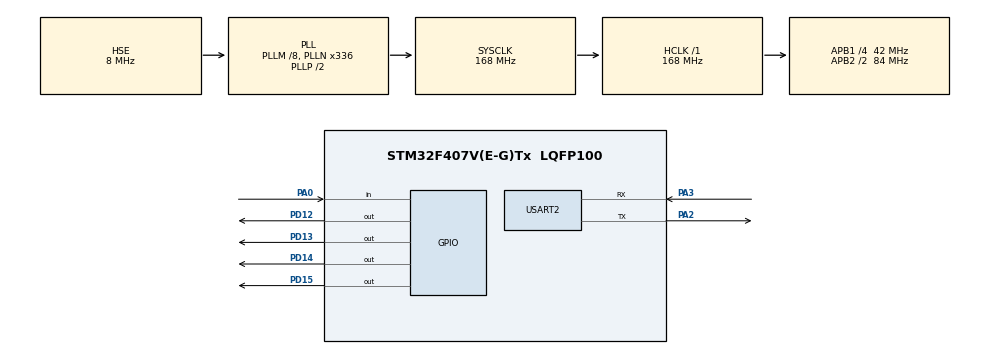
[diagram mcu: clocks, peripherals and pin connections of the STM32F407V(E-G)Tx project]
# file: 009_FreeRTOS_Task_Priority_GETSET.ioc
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FREERTOS.Tasks01=defaultTask,24,128,StartDefaultTask,Default,NULL,Dynamic,NULL,NULL
FREERTOS.configUSE_NEWLIB_REENTRANT=1
Mcu.Family=STM32F4
Mcu.Name=STM32F407V(E-G)Tx
Mcu.Package=LQFP100
NVIC.PriorityGroup=NVIC_PRIORITYGROUP_4
NVIC.TIM8_TRG_COM_TIM14_IRQn=true\:15\:0\:false\:false\:true\:false\:false\:true\:true
NVIC.TimeBase=TIM8_TRG_COM_TIM14_IRQn
NVIC.TimeBaseIP=TIM14
PA0-WKUP.Signal=GPIO_Input
PA2.Mode=Asynchronous
PA2.Signal=USART2_TX
PA3.Mode=Asynchronous
PA3.Signal=USART2_RX
PD12.Signal=GPIO_Output
PD13.Signal=GPIO_Output
PD14.Signal=GPIO_Output
PD15.Signal=GPIO_Output
PH0-OSC_IN.Mode=HSE-External-Oscillator
PH0-OSC_IN.Signal=RCC_OSC_IN
PH1-OSC_OUT.Mode=HSE-External-Oscillator
PH1-OSC_OUT.Signal=RCC_OSC_OUT
ProjectManager.HeapSize=0x200
ProjectManager.StackSize=0x400
ProjectManager.TargetToolchain=STM32CubeIDE
RCC.48MHZClocksFreq_Value=48000000
RCC.AHBFreq_Value=168000000
RCC.APB1CLKDivider=RCC_HCLK_DIV4
RCC.APB1Freq_Value=42000000
RCC.APB1TimFreq_Value=84000000
RCC.APB2CLKDivider=RCC_HCLK_DIV2
RCC.APB2Freq_Value=84000000
RCC.APB2TimFreq_Value=168000000
RCC.CortexFreq_Value=168000000
RCC.HCLKFreq_Value=168000000
RCC.HSE_VALUE=8000000
RCC.HSI_VALUE=16000000
RCC.LSE_VALUE=32768
RCC.PLLM=8
RCC.PLLN=336
RCC.PLLQ=7
RCC.PLLSourceVirtual=RCC_PLLSOURCE_HSE
RCC.SYSCLKFreq_VALUE=168000000
RCC.SYSCLKSource=RCC_SYSCLKSOURCE_PLLCLK
RCC.VCOOutputFreq_Value=336000000
USART2.VirtualMode=VM_ASYNC
VP_FREERTOS_VS_CMSIS_V2.Mode=CMSIS_V2
VP_SYS_VS_tim14.Mode=TIM14
board=STM32F407G-DISC1

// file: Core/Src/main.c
/* USER CODE BEGIN Header */
/**
  ******************************************************************************
  * @file           : main.c
  * @brief          : Main program body
  ******************************************************************************
  * @attention
  *
  * Copyright (c) 2023 STMicroelectronics.
  * All rights reserved.
  *
  * This software is licensed under terms that can be found in the LICENSE file
  * in the root directory of this software component.
  * If no LICENSE file comes with this software, it is provided AS-IS.
  *
  ******************************************************************************
  */
/* USER CODE END Header */
#include "main.h"
#include "cmsis_os.h"

/* USER CODE BEGIN Includes */
#include "FreeRTOS.h"
#include "task.h"
#include <stdio.h>
/* USER CODE END Includes */

UART_HandleTypeDef huart2;

/* Definitions for defaultTask */
//osThreadId_t defaultTaskHandle;
//const osThreadAttr_t defaultTask_attributes = {
//  .name = "defaultTask",
//  .stack_size = 128 * 4,
//  .priority = (osPriority_t) osPriorityNormal,
//};
/* USER CODE BEGIN PV */
volatile uint32_t ulIdleCycleCount = 0;
TaskHandle_t xTask2Handle = NULL;
/* USER CODE END PV */

void SystemClock_Config(void);
static void MX_GPIO_Init(void);
static void MX_USART2_UART_Init(void);
void StartDefaultTask(void *argument);

/* USER CODE BEGIN 0 */

void vTask2(void * pvParameters)
{
	UBaseType_t uxPriority;
	uxPriority = uxTaskPriorityGet(NULL);
	for(;;)
	{
		HAL_UART_Transmit(&huart2, (uint8_t *)("Gorev 2 calisiyor"), 19, 0xFFFF);
		HAL_UART_Transmit(&huart2, (uint8_t *)("Gorev 2 oncelik 2 azaltiliyor"), 30, 0xFFFF);
		vTaskPrioritySet(xTask2Handle,(uxPriority - 1));
	}
}
void vTask1(void * pvParameters)
{
	UBaseType_t uxPriority;
	uxPriority = uxTaskPriorityGet(NULL);
	for(;;)
	{
		HAL_UART_Transmit(&huart2, (uint8_t *)("Gorev 1 calisiyor"), 19, 0xFFFF);
		HAL_UART_Transmit(&huart2, (uint8_t *)("Gorev 2 oncelik 1 artiriliyor"), 30, 0xFFFF);
		vTaskPrioritySet(xTask2Handle,(uxPriority + 1));
	}
}

/* USER CODE END 0 */

int main(void)
{
  /* USER CODE BEGIN 1 */
  static const char *Gorev1Metin = "Gorev 1 calisiyor\r\n";
  static const char *Gorev2Metin = "Gorev 2 calisiyor\r\n";
  static const char *Gorev3Metin = "ulIdleCycleCount: %d";
  /* USER CODE END 1 */

  /* MCU Configuration--------------------------------------------------------*/

  /* Reset of all peripherals, Initializes the Flash interface and the Systick. */
  HAL_Init();

  /* Configure the system clock */
  SystemClock_Config();

  /* Initialize all configured peripherals */
  MX_GPIO_Init();
  MX_USART2_UART_Init();
  /* USER CODE BEGIN 2 */
  xTaskCreate(vTask1, "Task 1", configMINIMAL_STACK_SIZE, (void*)Gorev1Metin, 1, NULL);
  xTaskCreate(vTask2, "Task 2", configMINIMAL_STACK_SIZE, (void*)Gorev2Metin, 1, &xTask2Handle);

  vTaskStartScheduler();
  /* USER CODE END 2 */

  /* Init scheduler */
  //osKernelInitialize();

  /* Create the thread(s) */
  /* creation of defaultTask */
  //defaultTaskHandle = osThreadNew(StartDefaultTask, NULL, &defaultTask_attributes);

  /* Start scheduler */
  //osKernelStart();
  /* We should never get here as control is now taken by the scheduler */
  /* Infinite loop */
  while (1)
  {

  }
}

void SystemClock_Config(void)
{
  RCC_OscInitTypeDef RCC_OscInitStruct = {0};
  RCC_ClkInitTypeDef RCC_ClkInitStruct = {0};

  /** Configure the main internal regulator output voltage
  */
  __HAL_RCC_PWR_CLK_ENABLE();
  __HAL_PWR_VOLTAGESCALING_CONFIG(PWR_REGULATOR_VOLTAGE_SCALE1);

  /** Initializes the RCC Oscillators according to the specified parameters
  * in the RCC_OscInitTypeDef structure.
  */
  RCC_OscInitStruct.OscillatorType = RCC_OSCILLATORTYPE_HSE;
  RCC_OscInitStruct.HSEState = RCC_HSE_ON;
  RCC_OscInitStruct.PLL.PLLState = RCC_PLL_ON;
  RCC_OscInitStruct.PLL.PLLSource = RCC_PLLSOURCE_HSE;
  RCC_OscInitStruct.PLL.PLLM = 8;
  RCC_OscInitStruct.PLL.PLLN = 336;
  RCC_OscInitStruct.PLL.PLLP = RCC_PLLP_DIV2;
  RCC_OscInitStruct.PLL.PLLQ = 7;
  if (HAL_RCC_OscConfig(&RCC_OscInitStruct) != HAL_OK)
  {
    Error_Handler();
  }

  /** Initializes the CPU, AHB and APB buses clocks
  */
  RCC_ClkInitStruct.ClockType = RCC_CLOCKTYPE_HCLK|RCC_CLOCKTYPE_SYSCLK
                              |RCC_CLOCKTYPE_PCLK1|RCC_CLOCKTYPE_PCLK2;
  RCC_ClkInitStruct.SYSCLKSource = RCC_SYSCLKSOURCE_PLLCLK;
  RCC_ClkInitStruct.AHBCLKDivider = RCC_SYSCLK_DIV1;
  RCC_ClkInitStruct.APB1CLKDivider = RCC_HCLK_DIV4;
  RCC_ClkInitStruct.APB2CLKDivider = RCC_HCLK_DIV2;

  if (HAL_RCC_ClockConfig(&RCC_ClkInitStruct, FLASH_LATENCY_5) != HAL_OK)
  {
    Error_Handler();
  }
}

static void MX_USART2_UART_Init(void)
{

  huart2.Instance = USART2;
  huart2.Init.BaudRate = 115200;
  huart2.Init.WordLength = UART_WORDLENGTH_8B;
  huart2.Init.StopBits = UART_STOPBITS_1;
  huart2.Init.Parity = UART_PARITY_NONE;
  huart2.Init.Mode = UART_MODE_TX_RX;
  huart2.Init.HwFlowCtl = UART_HWCONTROL_NONE;
  huart2.Init.OverSampling = UART_OVERSAMPLING_16;
  if (HAL_UART_Init(&huart2) != HAL_OK)
  {
    Error_Handler();
  }

}

static void MX_GPIO_Init(void)
{
  GPIO_InitTypeDef GPIO_InitStruct = {0};

  /* GPIO Ports Clock Enable */
  __HAL_RCC_GPIOH_CLK_ENABLE();
  __HAL_RCC_GPIOA_CLK_ENABLE();
  __HAL_RCC_GPIOD_CLK_ENABLE();

  /*Configure GPIO pin Output Level */
  HAL_GPIO_WritePin(GPIOD, GPIO_PIN_12|GPIO_PIN_13|GPIO_PIN_14|GPIO_PIN_15, GPIO_PIN_RESET);

  /*Configure GPIO pin : PA0 */
  GPIO_InitStruct.Pin = GPIO_PIN_0;
  GPIO_InitStruct.Mode = GPIO_MODE_INPUT;
  GPIO_InitStruct.Pull = GPIO_NOPULL;
  HAL_GPIO_Init(GPIOA, &GPIO_InitStruct);

  /*Configure GPIO pins : PD12 PD13 PD14 PD15 */
  GPIO_InitStruct.Pin = GPIO_PIN_12|GPIO_PIN_13|GPIO_PIN_14|GPIO_PIN_15;
  GPIO_InitStruct.Mode = GPIO_MODE_OUTPUT_PP;
  GPIO_InitStruct.Pull = GPIO_NOPULL;
  GPIO_InitStruct.Speed = GPIO_SPEED_FREQ_LOW;
  HAL_GPIO_Init(GPIOD, &GPIO_InitStruct);

}

void StartDefaultTask(void *argument)
{
  for(;;)
  {
    osDelay(1);
  }
}

void HAL_TIM_PeriodElapsedCallback(TIM_HandleTypeDef *htim)
{
  if (htim->Instance == TIM14) {
    HAL_IncTick();
  }
}

void Error_Handler(void)
{
  __disable_irq();
  while (1)
  {
  }
}
